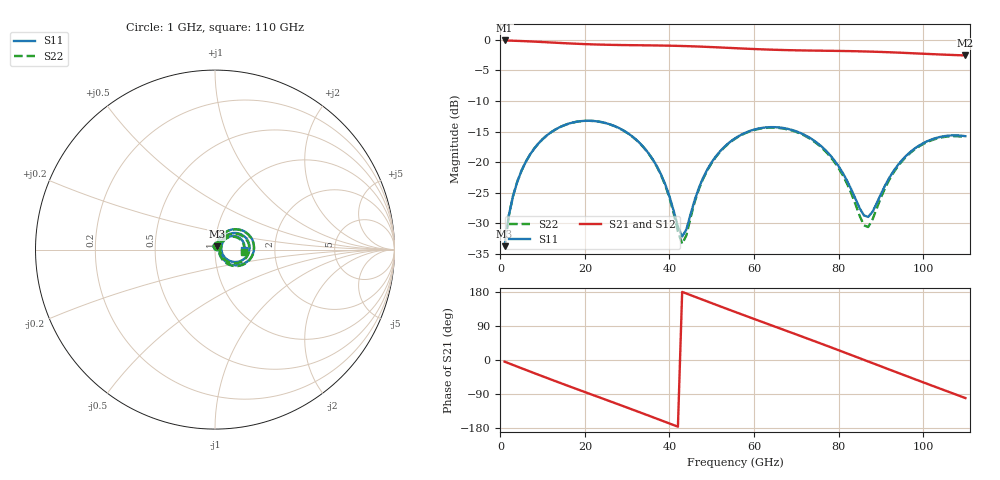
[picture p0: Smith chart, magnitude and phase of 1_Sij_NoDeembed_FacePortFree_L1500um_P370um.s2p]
! Touchstone file exported from HFSS 2024.2.0
!  File:  C:/Users/vaintrug/Documents/Ansoft_Workspace/Comparaison_Calculs_HFSS/1_VarPort.aedt
!  Generated:  03:22:17 PM Jan 21, 2025
!  Design:  1_NoDeembed_FacePortFree
!  Project:  1_VarPort
!  Setup:  Setup1
!  Solution:  Sweep
! Variables:
!  $Lenght = 1500um
!  $PortSize = 370um
!  Gap = 30um
!  Th = 2um
!  X_centralStrip = 20um
!  X_masse = 200um
!  Y_Sub = 1.5mm
!  Z_Box = 400um
!  Z_Sub = 200um
# GHz S MA R 50.000000
! Terminal data exported
! Port[1] = 1
! Port[2] = 2
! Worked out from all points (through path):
!   110 points, 1 GHz to 110 GHz, reference 50 ohm
!   highest |S21| = -0.10 dB at 1 GHz (marker M1); lowest = -2.5 dB at 110 GHz (marker M2)
!   group delay of S21, straight-line fit = 11.6 ps
!   lowest |S11| = -33.8 dB at 1 GHz (marker M3), VSWR 1.04, Z = 50.9 + j1.85 ohm
!   |S11| at or under -10 dB: start of sweep to end of sweep
!   |S22| runs from -33.7 to -13.2 dB; largest |S21 - S12| = 1.6e-14
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1  0.02053 62.4  0.9891 -4.4  0.9891 -4.4  0.02054 62.3
! Gamma 5.85102494696905 49.7824696243952 5.98748908662112 49.7944371054872
! Port Impedance 50 0 50 0
2  0.03656 69.4  0.9865 -8.8  0.9865 -8.8  0.03658 69.3
3  0.05294 69.9  0.984 -13.1  0.984 -13.1  0.05296 69.7
7  0.1151 58.6  0.9715 -30.3  0.9715 -30.3  0.1151 58.3
14  0.1928 31.7  0.9439 -59.9  0.9439 -59.9  0.1927 30.9
20  0.2177 8.7  0.9235 -84.7  0.9235 -84.7  0.2175 7.5
29  0.1826 -24.4  0.907 -121.5  0.907 -121.5  0.1821 -26.4
34  0.1311 -40.8  0.9026 -142.3  0.9026 -142.3  0.1305 -43.4
38  0.07927 -49.2  0.8988 -159.1  0.8988 -159.1  0.07835 -53.0
43  0.02467 -0.3  0.891 179.7  0.891 179.7  0.02144 -3.1
47  0.06212 53.8  0.8816 162.7  0.8816 162.7  0.06055 54.3
49  0.08765 53.0  0.8759 154.2  0.8759 154.2  0.08632 52.7
56  0.1605 34.0  0.8537 124.9  0.8537 124.9  0.1591 32.2
65  0.1932 3.5  0.8296 87.9  0.8296 87.9  0.1912 0.6
74  0.1517 -25.5  0.8172 50.9  0.8172 50.9  0.1492 -29.8
80  0.09254 -38.7  0.812 25.8  0.812 25.8  0.08932 -44.7
86  0.03665 -8.6  0.8044 0.4  0.8044 0.4  0.03041 -13.5
88  0.0391 23.6  0.8008 -8.1  0.8008 -8.1  0.03375 25.7
92  0.07446 45.3  0.7919 -25.1  0.7919 -25.1  0.07178 46.1
96  0.1129 40.7  0.7814 -42.0  0.7814 -42.0  0.1107 39.7
101  0.1484 27.4  0.7676 -63.0  0.7676 -63.0  0.1462 25.1
110  0.163 -1.0  0.7461 -100.4  0.7461 -100.4  0.1602 -4.7
